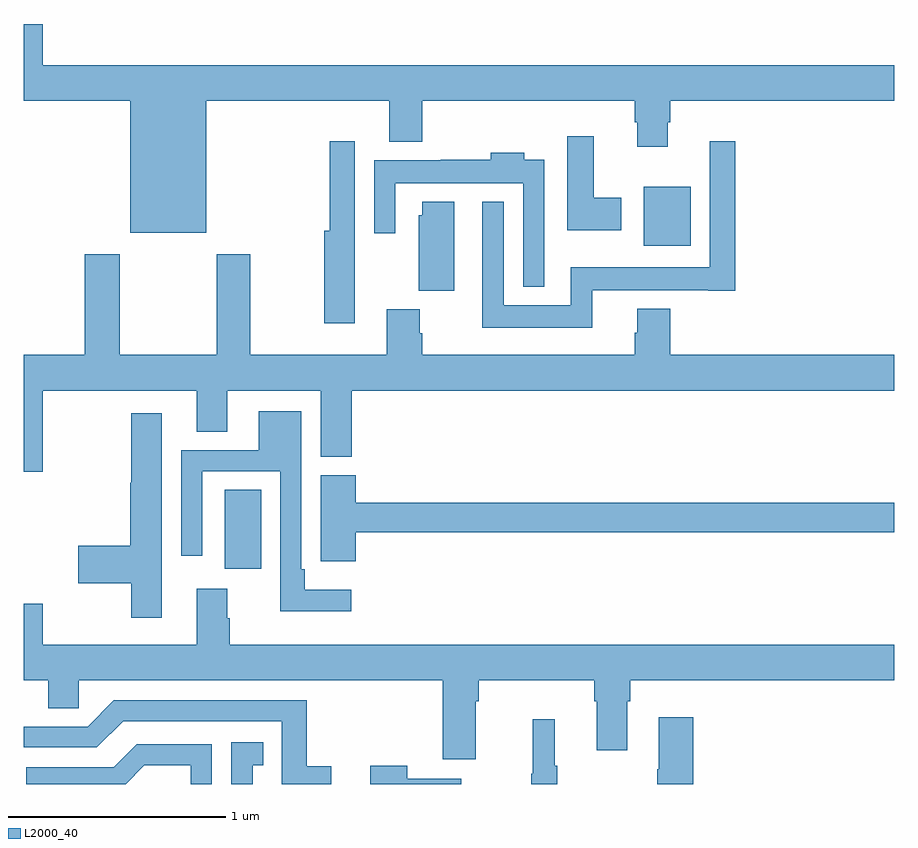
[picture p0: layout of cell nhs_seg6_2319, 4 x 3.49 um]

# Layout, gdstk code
import gdstk
lib = gdstk.Library(unit=1e-6, precision=1e-09)
def R(c, l, rs):  # rectangles x0, y0, x1, y1
    for r in rs: c.add(gdstk.rectangle(r[:2], r[2:], *l))
def P(c, l, *ps):  # polygons
    for p in ps: c.add(gdstk.Polygon(p, *l))
L2000_40 = (2000, 40)

nhs_seg6_2319 = lib.new_cell('nhs_seg6_2319')
R(nhs_seg6_2319, L2000_40, [(249.923,974.49,250.09,974.852), (251.849,975.974,252.064,976.246)])
P(nhs_seg6_2319, L2000_40, [(249.838,976.64),(250.679,976.64),(250.679,976.451),(250.832,976.451),(250.832,976.64),(251.807,976.64),(251.807,976.542),(251.819,976.542),(251.819,976.428),(251.959,976.428),(251.959,976.542),(251.972,976.542),(251.972,976.64),(253,976.64),(253,976.804),(249.088,976.804),(249.088,976.993),(249,976.993),(249,976.64),(249.488,976.64),(249.488,976.034),(249.838,976.034)],
  [(251.746,976.194),(251.62,976.194),(251.62,976.477),(251.498,976.477),(251.498,976.046),(251.746,976.046)],
  [(250.522,975.938),(250.521,975.938),(250.521,976.453),(250.405,976.453),(250.405,976.042),(250.381,976.042),(250.381,975.618),(250.522,975.618)],
  [(251.612,975.77),(252.146,975.77),(252.146,975.768),(252.269,975.768),(252.269,976.453),(252.153,976.453),(252.153,975.874),(251.514,975.874),(251.514,975.7),(251.205,975.7),(251.205,976.177),(251.108,976.177),(251.108,975.596),(251.612,975.596)],
  [(251.391,976.369),(251.299,976.369),(251.299,976.402),(251.147,976.402),(251.147,976.369),(250.915,976.369),(250.915,976.366),(250.611,976.366),(250.611,976.032),(250.707,976.032),(250.707,976.262),(251.295,976.262),(251.295,975.785),(251.391,975.785)],
  [(250.978,976.177),(250.832,976.177),(250.832,976.113),(250.814,976.113),(250.814,975.766),(250.978,975.766)],
  [(249.088,975.308),(249.794,975.308),(249.794,975.118),(249.934,975.118),(249.934,975.308),(250.364,975.308),(250.364,975.004),(250.508,975.004),(250.508,975.308),(253,975.308),(253,975.472),(251.972,975.472),(251.972,975.685),(251.819,975.685),(251.819,975.573),(251.807,975.573),(251.807,975.472),(250.832,975.472),(250.832,975.572),(250.819,975.572),(250.819,975.681),(250.667,975.681),(250.667,975.472),(250.041,975.472),(250.041,975.934),(249.886,975.934),(249.886,975.472),(249.441,975.472),(249.441,975.934),(249.281,975.934),(249.281,975.472),(249,975.472),(249,974.934),(249.088,974.934)],
  [(250.504,974.392),(250.291,974.392),(250.291,974.488),(250.275,974.488),(250.275,975.214),(250.079,975.214),(250.079,975.033),(249.723,975.033),(249.723,974.55),(249.819,974.55),(249.819,974.937),(250.179,974.937),(250.179,974.294),(250.504,974.294)],
  [(249.634,975.205),(249.493,975.205),(249.493,974.885),(249.488,974.885),(249.488,974.594),(249.249,974.594),(249.249,974.423),(249.493,974.423),(249.493,974.265),(249.634,974.265)],
  [(250.526,974.656),(253,974.656),(253,974.792),(250.526,974.792),(250.526,974.919),(250.364,974.919),(250.364,974.635),(250.365,974.635),(250.365,974.523),(250.526,974.523)],
  [(249.947,974.261),(249.934,974.261),(249.934,974.398),(249.794,974.398),(249.794,974.14),(249.088,974.14),(249.088,974.329),(249,974.329),(249,973.976),(249.113,973.976),(249.113,973.849),(249.252,973.849),(249.252,973.976),(250.925,973.976),(250.925,973.614),(251.077,973.614),(251.077,973.88),(251.09,973.88),(251.09,973.976),(251.621,973.976),(251.621,973.88),(251.633,973.88),(251.633,973.656),(251.773,973.656),(251.773,973.88),(251.786,973.88),(251.786,973.976),(253,973.976),(253,974.14),(249.947,974.14)],
  [(250.412,973.582),(250.301,973.582),(250.301,973.884),(249.414,973.884),(249.294,973.764),(249,973.764),(249,973.668),(249.336,973.668),(249.456,973.788),(250.185,973.788),(250.185,973.5),(250.412,973.5)],
  [(252.077,973.807),(251.918,973.807),(251.918,973.568),(251.911,973.568),(251.911,973.5),(252.077,973.5)],
  [(251.452,973.585),(251.441,973.585),(251.441,973.798),(251.338,973.798),(251.338,973.548),(251.331,973.548),(251.331,973.5),(251.452,973.5)],
  [(250.051,973.587),(250.1,973.587),(250.1,973.693),(249.954,973.693),(249.954,973.5),(250.051,973.5)],
  [(249.554,973.586),(249.768,973.586),(249.768,973.5),(249.864,973.5),(249.864,973.683),(249.518,973.683),(249.413,973.578),(249.01,973.578),(249.01,973.5),(249.468,973.5)],
  [(251.011,973.525),(250.763,973.525),(250.763,973.585),(250.592,973.585),(250.592,973.5),(251.011,973.5)])

lib.write_gds('nhs_seg6_2319.gds')
